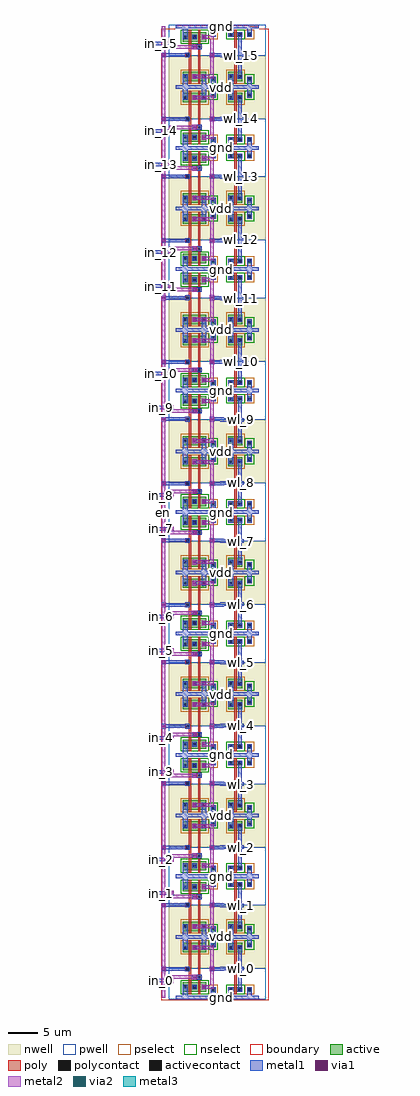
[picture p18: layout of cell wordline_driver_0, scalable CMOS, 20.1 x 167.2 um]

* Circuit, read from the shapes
.subckt wordline_driver_0 en gnd in_0 in_1 in_10 in_11 in_12 in_13 in_14 in_15 in_2 in_3 in_4 in_5 in_6 in_7 in_8 in_9 vdd wl_0 wl_1 wl_10 wl_11 wl_12 wl_13 wl_14 wl_15 wl_2 wl_3 wl_4 wl_5 wl_6 wl_7 wl_8 wl_9
M1 pnand2_0_0/nmos_m1_w1_600_a_p_2/D en gnd gnd nfet w=1.6u l=0.4u
M2 pnand2_0_2/nmos_m1_w1_600_a_p_2/D en gnd gnd nfet w=1.6u l=0.4u
M3 pnand2_0_4/nmos_m1_w1_600_a_p_2/D en gnd gnd nfet w=1.6u l=0.4u
M4 pnand2_0_6/nmos_m1_w1_600_a_p_2/D en gnd gnd nfet w=1.6u l=0.4u
M5 pnand2_0_8/nmos_m1_w1_600_a_p_2/D en gnd gnd nfet w=1.6u l=0.4u
M6 pnand2_0_10/nmos_m1_w1_600_a_p_2/D en gnd gnd nfet w=1.6u l=0.4u
M7 pnand2_0_12/nmos_m1_w1_600_a_p_2/D en gnd gnd nfet w=1.6u l=0.4u
M8 pnand2_0_14/nmos_m1_w1_600_a_p_2/D en gnd gnd nfet w=1.6u l=0.4u
M9 pnand2_0_16/nmos_m1_w1_600_a_p_2/D en gnd gnd nfet w=1.6u l=0.4u
M10 pnand2_0_18/nmos_m1_w1_600_a_p_2/D en gnd gnd nfet w=1.6u l=0.4u
M11 pnand2_0_20/nmos_m1_w1_600_a_p_2/D en gnd gnd nfet w=1.6u l=0.4u
M12 pnand2_0_22/nmos_m1_w1_600_a_p_2/D en gnd gnd nfet w=1.6u l=0.4u
M13 pnand2_0_24/nmos_m1_w1_600_a_p_2/D en gnd gnd nfet w=1.6u l=0.4u
M14 pnand2_0_26/nmos_m1_w1_600_a_p_2/D en gnd gnd nfet w=1.6u l=0.4u
M15 pnand2_0_28/nmos_m1_w1_600_a_p_2/D en gnd gnd nfet w=1.6u l=0.4u
M16 pnand2_0_30/nmos_m1_w1_600_a_p_2/D en gnd gnd nfet w=1.6u l=0.4u
M17 pdriver_0_1/A in_0 pnand2_0_0/nmos_m1_w1_600_a_p_2/D gnd nfet w=1.6u l=0.4u
M18 pdriver_0_3/A in_1 pnand2_0_2/nmos_m1_w1_600_a_p_2/D gnd nfet w=1.6u l=0.4u
M19 pdriver_0_5/A in_2 pnand2_0_4/nmos_m1_w1_600_a_p_2/D gnd nfet w=1.6u l=0.4u
M20 pdriver_0_7/A in_3 pnand2_0_6/nmos_m1_w1_600_a_p_2/D gnd nfet w=1.6u l=0.4u
M21 pdriver_0_9/A in_4 pnand2_0_8/nmos_m1_w1_600_a_p_2/D gnd nfet w=1.6u l=0.4u
M22 pdriver_0_11/A in_5 pnand2_0_10/nmos_m1_w1_600_a_p_2/D gnd nfet w=1.6u l=0.4u
M23 pdriver_0_13/A in_6 pnand2_0_12/nmos_m1_w1_600_a_p_2/D gnd nfet w=1.6u l=0.4u
M24 pdriver_0_15/A in_7 pnand2_0_14/nmos_m1_w1_600_a_p_2/D gnd nfet w=1.6u l=0.4u
M25 pdriver_0_17/A in_8 pnand2_0_16/nmos_m1_w1_600_a_p_2/D gnd nfet w=1.6u l=0.4u
M26 pdriver_0_19/A in_9 pnand2_0_18/nmos_m1_w1_600_a_p_2/D gnd nfet w=1.6u l=0.4u
M27 pdriver_0_21/A in_10 pnand2_0_20/nmos_m1_w1_600_a_p_2/D gnd nfet w=1.6u l=0.4u
M28 pdriver_0_23/A in_11 pnand2_0_22/nmos_m1_w1_600_a_p_2/D gnd nfet w=1.6u l=0.4u
M29 pdriver_0_25/A in_12 pnand2_0_24/nmos_m1_w1_600_a_p_2/D gnd nfet w=1.6u l=0.4u
M30 pdriver_0_27/A in_13 pnand2_0_26/nmos_m1_w1_600_a_p_2/D gnd nfet w=1.6u l=0.4u
M31 pdriver_0_29/A in_14 pnand2_0_28/nmos_m1_w1_600_a_p_2/D gnd nfet w=1.6u l=0.4u
M32 pdriver_0_31/A in_15 pnand2_0_30/nmos_m1_w1_600_a_p_2/D gnd nfet w=1.6u l=0.4u
M33 wl_0 pdriver_0_1/A gnd gnd nfet w=0.8u l=0.4u
M34 wl_1 pdriver_0_3/A gnd gnd nfet w=0.8u l=0.4u
M35 wl_2 pdriver_0_5/A gnd gnd nfet w=0.8u l=0.4u
M36 wl_3 pdriver_0_7/A gnd gnd nfet w=0.8u l=0.4u
M37 wl_4 pdriver_0_9/A gnd gnd nfet w=0.8u l=0.4u
M38 wl_5 pdriver_0_11/A gnd gnd nfet w=0.8u l=0.4u
M39 wl_6 pdriver_0_13/A gnd gnd nfet w=0.8u l=0.4u
M40 wl_7 pdriver_0_15/A gnd gnd nfet w=0.8u l=0.4u
M41 wl_8 pdriver_0_17/A gnd gnd nfet w=0.8u l=0.4u
M42 wl_9 pdriver_0_19/A gnd gnd nfet w=0.8u l=0.4u
M43 wl_10 pdriver_0_21/A gnd gnd nfet w=0.8u l=0.4u
M44 wl_11 pdriver_0_23/A gnd gnd nfet w=0.8u l=0.4u
M45 wl_12 pdriver_0_25/A gnd gnd nfet w=0.8u l=0.4u
M46 wl_13 pdriver_0_27/A gnd gnd nfet w=0.8u l=0.4u
M47 wl_14 pdriver_0_29/A gnd gnd nfet w=0.8u l=0.4u
M48 wl_15 pdriver_0_31/A gnd gnd nfet w=0.8u l=0.4u
M49 pdriver_0_1/A en vdd vdd pfet w=1.6u l=0.4u
M50 pdriver_0_3/A en vdd vdd pfet w=1.6u l=0.4u
M51 pdriver_0_5/A en vdd vdd pfet w=1.6u l=0.4u
M52 pdriver_0_7/A en vdd vdd pfet w=1.6u l=0.4u
M53 pdriver_0_9/A en vdd vdd pfet w=1.6u l=0.4u
M54 pdriver_0_11/A en vdd vdd pfet w=1.6u l=0.4u
M55 pdriver_0_13/A en vdd vdd pfet w=1.6u l=0.4u
M56 pdriver_0_15/A en vdd vdd pfet w=1.6u l=0.4u
M57 pdriver_0_17/A en vdd vdd pfet w=1.6u l=0.4u
M58 pdriver_0_19/A en vdd vdd pfet w=1.6u l=0.4u
M59 pdriver_0_21/A en vdd vdd pfet w=1.6u l=0.4u
M60 pdriver_0_23/A en vdd vdd pfet w=1.6u l=0.4u
M61 pdriver_0_25/A en vdd vdd pfet w=1.6u l=0.4u
M62 pdriver_0_27/A en vdd vdd pfet w=1.6u l=0.4u
M63 pdriver_0_29/A en vdd vdd pfet w=1.6u l=0.4u
M64 pdriver_0_31/A en vdd vdd pfet w=1.6u l=0.4u
M65 vdd in_0 pdriver_0_1/A vdd pfet w=1.6u l=0.4u
M66 vdd in_1 pdriver_0_3/A vdd pfet w=1.6u l=0.4u
M67 vdd in_2 pdriver_0_5/A vdd pfet w=1.6u l=0.4u
M68 vdd in_3 pdriver_0_7/A vdd pfet w=1.6u l=0.4u
M69 vdd in_4 pdriver_0_9/A vdd pfet w=1.6u l=0.4u
M70 vdd in_5 pdriver_0_11/A vdd pfet w=1.6u l=0.4u
M71 vdd in_6 pdriver_0_13/A vdd pfet w=1.6u l=0.4u
M72 vdd in_7 pdriver_0_15/A vdd pfet w=1.6u l=0.4u
M73 vdd in_8 pdriver_0_17/A vdd pfet w=1.6u l=0.4u
M74 vdd in_9 pdriver_0_19/A vdd pfet w=1.6u l=0.4u
M75 vdd in_10 pdriver_0_21/A vdd pfet w=1.6u l=0.4u
M76 vdd in_11 pdriver_0_23/A vdd pfet w=1.6u l=0.4u
M77 vdd in_12 pdriver_0_25/A vdd pfet w=1.6u l=0.4u
M78 vdd in_13 pdriver_0_27/A vdd pfet w=1.6u l=0.4u
M79 vdd in_14 pdriver_0_29/A vdd pfet w=1.6u l=0.4u
M80 vdd in_15 pdriver_0_31/A vdd pfet w=1.6u l=0.4u
M81 wl_0 pdriver_0_1/A vdd vdd pfet w=1.6u l=0.4u
M82 wl_1 pdriver_0_3/A vdd vdd pfet w=1.6u l=0.4u
M83 wl_2 pdriver_0_5/A vdd vdd pfet w=1.6u l=0.4u
M84 wl_3 pdriver_0_7/A vdd vdd pfet w=1.6u l=0.4u
M85 wl_4 pdriver_0_9/A vdd vdd pfet w=1.6u l=0.4u
M86 wl_5 pdriver_0_11/A vdd vdd pfet w=1.6u l=0.4u
M87 wl_6 pdriver_0_13/A vdd vdd pfet w=1.6u l=0.4u
M88 wl_7 pdriver_0_15/A vdd vdd pfet w=1.6u l=0.4u
M89 wl_8 pdriver_0_17/A vdd vdd pfet w=1.6u l=0.4u
M90 wl_9 pdriver_0_19/A vdd vdd pfet w=1.6u l=0.4u
M91 wl_10 pdriver_0_21/A vdd vdd pfet w=1.6u l=0.4u
M92 wl_11 pdriver_0_23/A vdd vdd pfet w=1.6u l=0.4u
M93 wl_12 pdriver_0_25/A vdd vdd pfet w=1.6u l=0.4u
M94 wl_13 pdriver_0_27/A vdd vdd pfet w=1.6u l=0.4u
M95 wl_14 pdriver_0_29/A vdd vdd pfet w=1.6u l=0.4u
M96 wl_15 pdriver_0_31/A vdd vdd pfet w=1.6u l=0.4u
.ends

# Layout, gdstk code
import gdstk
lib = gdstk.Library(unit=1e-6, precision=1e-09)
def R(c, l, rs):  # rectangles x0, y0, x1, y1
    for r in rs: c.add(gdstk.rectangle(r[:2], r[2:], *l))
def A(c, l, x, y, w, h, nx, ny, dx, dy):  # array of equal rectangles
    R(c, l, [(x+i*dx, y+j*dy, x+i*dx+w, y+j*dy+h) for i in range(nx) for j in range(ny)])
pwell = (41, 0)
nwell = (42, 0)
active = (43, 0)
pselect = (44, 0)
nselect = (45, 0)
poly = (46, 0)
polycontact = (47, 0)
activecontact = (48, 0)
metal1 = (49, 0)
via1 = (50, 0)
metal2 = (51, 0)
via2 = (61, 0)
metal3 = (62, 0)
boundary = (63, 0)

contact_11 = lib.new_cell('contact_11')
R(contact_11, nwell, [(-1.2,-1.2,2,2)])
R(contact_11, active, [(0,0,0.8,0.8)])
R(contact_11, pselect, [(-0.4,-0.4,1.2,1.2)])
R(contact_11, activecontact, [(0.2,0.2,0.6,0.6)])
R(contact_11, metal1, [(0,0,0.8,0.8)])

pmos_m1_w1_600_a_p = lib.new_cell('pmos_m1_w1_600_a_p')
R(pmos_m1_w1_600_a_p, nwell, [(-1.2,-1.2,3.6,2.8)])
R(pmos_m1_w1_600_a_p, active, [(0,0,2.4,1.6)])
R(pmos_m1_w1_600_a_p, pselect, [(-0.4,-0.4,2.8,2)])
R(pmos_m1_w1_600_a_p, poly, [(1,-0.4,1.4,2), (1,-0.4,1.4,2)])
R(pmos_m1_w1_600_a_p, metal1, [(0,0.4,0.8,1.2), (1.6,0.4,2.4,1.2)])
R(pmos_m1_w1_600_a_p, boundary, [(-1.2,-1.2,3.6,2.8)])
pmos_m1_w1_600_a_p.add(gdstk.Reference(contact_11, (0,0.4)))
pmos_m1_w1_600_a_p.add(gdstk.Reference(contact_11, (1.6,0.4)))
pmos_m1_w1_600_a_p.add(gdstk.Label('G', (1.2,0.8), layer=46, texttype=0))
pmos_m1_w1_600_a_p.add(gdstk.Label('S', (0.4,0.8), layer=49, texttype=0))
pmos_m1_w1_600_a_p.add(gdstk.Label('D', (2,0.8), layer=49, texttype=0))

contact_16 = lib.new_cell('contact_16')
R(contact_16, pwell, [(-1.2,-1.2,2,2)])
R(contact_16, active, [(0,0,0.8,0.8)])
R(contact_16, nselect, [(-0.4,-0.4,1.2,1.2)])
R(contact_16, activecontact, [(0.2,0.2,0.6,0.6)])
R(contact_16, metal1, [(0,0,0.8,0.8)])

nmos_m1_w1_600_a_p = lib.new_cell('nmos_m1_w1_600_a_p')
R(nmos_m1_w1_600_a_p, pwell, [(-1.2,-1.2,3.6,2.8)])
R(nmos_m1_w1_600_a_p, active, [(0,0,2.4,1.6)])
R(nmos_m1_w1_600_a_p, nselect, [(-0.4,-0.4,2.8,2)])
R(nmos_m1_w1_600_a_p, poly, [(1,-0.4,1.4,2), (1,-0.4,1.4,2)])
R(nmos_m1_w1_600_a_p, metal1, [(0,0.4,0.8,1.2), (1.6,0.4,2.4,1.2)])
R(nmos_m1_w1_600_a_p, boundary, [(-1.2,-1.2,3.6,2.8)])
nmos_m1_w1_600_a_p.add(gdstk.Reference(contact_16, (0,0.4)))
nmos_m1_w1_600_a_p.add(gdstk.Reference(contact_16, (1.6,0.4)))
nmos_m1_w1_600_a_p.add(gdstk.Label('G', (1.2,0.8), layer=46, texttype=0))
nmos_m1_w1_600_a_p.add(gdstk.Label('S', (0.4,0.8), layer=49, texttype=0))
nmos_m1_w1_600_a_p.add(gdstk.Label('D', (2,0.8), layer=49, texttype=0))

contact_13 = lib.new_cell('contact_13')
R(contact_13, nwell, [(-1.2,-1.2,2,2)])
R(contact_13, active, [(0,0,0.8,0.8)])
R(contact_13, nselect, [(-0.4,-0.4,1.2,1.2)])
R(contact_13, activecontact, [(0.2,0.2,0.6,0.6)])
R(contact_13, metal1, [(0,0,0.8,0.8)])

contact_17 = lib.new_cell('contact_17')
R(contact_17, pwell, [(-1.2,-1.2,2,2)])
R(contact_17, active, [(0,0,0.8,0.8)])
R(contact_17, pselect, [(-0.4,-0.4,1.2,1.2)])
R(contact_17, activecontact, [(0.2,0.2,0.6,0.6)])
R(contact_17, metal1, [(0,0,0.8,0.8)])

contact_12 = lib.new_cell('contact_12')
R(contact_12, poly, [(0,0,0.8,0.8)])
R(contact_12, polycontact, [(0.2,0.2,0.6,0.6)])
R(contact_12, metal1, [(0,0,0.8,0.8)])

contact_18 = lib.new_cell('contact_18')
R(contact_18, metal1, [(0,0,0.8,0.8)])
R(contact_18, via1, [(0.2,0.2,0.6,0.6)])
R(contact_18, metal2, [(0,0,0.8,0.8)])

contact_19 = lib.new_cell('contact_19')
R(contact_19, metal1, [(0,0,0.8,0.8)])
R(contact_19, via1, [(0.2,0.2,0.6,0.6)])
R(contact_19, metal2, [(0,0,0.8,0.8)])

pnand2_0 = lib.new_cell('pnand2_0')
R(pnand2_0, pwell, [(-1.2,-0.3,9,5)])
R(pnand2_0, nwell, [(-1.2,5,9,11.8)])
R(pnand2_0, poly, [(2.2,3,2.6,7.4), (3.8,3,4.2,7.4), (3.8,3.1,4,3.9), (2,4.5,2.2,5.3)])
R(pnand2_0, metal1, [(0,-0.3,7.8,0.3), (1.2,-0.3,2,1.4), (6,0,6.8,1.4), (3.6,3.1,4.4,3.9), (1.6,4.5,2.4,5.3), (5.8,4.5,6.6,5.3), (1.2,8.2,2,10.7), (4.4,8.2,5.2,10.7), (6,9,6.8,10.4), (0,10.1,7.8,10.7)])
R(pnand2_0, metal2, [(4.8,1.5,6.2,2.1), (5.9,1.5,6.5,2.1), (5.9,1.8,6.5,4.9), (5.9,4.9,6.5,8.6), (3.2,8.3,6.2,8.9), (5.9,8.3,6.5,8.9)])
R(pnand2_0, boundary, [(0,0,7.8,10.4)])
pnand2_0.add(gdstk.Reference(pmos_m1_w1_600_a_p, (1.2,7.8)))
pnand2_0.add(gdstk.Reference(pmos_m1_w1_600_a_p, (2.8,7.8)))
pnand2_0.add(gdstk.Reference(nmos_m1_w1_600_a_p, (1.2,1)))
pnand2_0.add(gdstk.Reference(nmos_m1_w1_600_a_p, (2.8,1)))
pnand2_0.add(gdstk.Reference(contact_13, (6,8.6)))
pnand2_0.add(gdstk.Reference(contact_17, (6,1)))
pnand2_0.add(gdstk.Reference(contact_12, (3.6,3.1)))
pnand2_0.add(gdstk.Reference(contact_12, (1.6,4.5)))
pnand2_0.add(gdstk.Reference(contact_18, (2.8,8.2)))
pnand2_0.add(gdstk.Reference(contact_18, (4.4,1.4)))
pnand2_0.add(gdstk.Reference(contact_19, (5.8,4.5)))
pnand2_0.add(gdstk.Label('gnd', (3.9,0), layer=49, texttype=0))
pnand2_0.add(gdstk.Label('vdd', (3.9,10.4), layer=49, texttype=0))
pnand2_0.add(gdstk.Label('B', (4,3.5), layer=49, texttype=0))
pnand2_0.add(gdstk.Label('A', (2,4.9), layer=49, texttype=0))
pnand2_0.add(gdstk.Label('Z', (6.2,4.9), layer=49, texttype=0))

nmos_m1_w0_800_a_p = lib.new_cell('nmos_m1_w0_800_a_p')
R(nmos_m1_w0_800_a_p, pwell, [(-1.2,-1.2,3.6,2)])
R(nmos_m1_w0_800_a_p, active, [(0,0,2.4,0.8)])
R(nmos_m1_w0_800_a_p, nselect, [(-0.4,-0.4,2.8,1.2)])
R(nmos_m1_w0_800_a_p, poly, [(1,-0.4,1.4,1.2), (1,-0.4,1.4,1.2)])
R(nmos_m1_w0_800_a_p, metal1, [(0,0,0.8,0.8), (1.6,0,2.4,0.8)])
R(nmos_m1_w0_800_a_p, boundary, [(-1.2,-1.2,3.6,2)])
nmos_m1_w0_800_a_p.add(gdstk.Reference(contact_16, (0,0)))
nmos_m1_w0_800_a_p.add(gdstk.Reference(contact_16, (1.6,0)))
nmos_m1_w0_800_a_p.add(gdstk.Label('G', (1.2,0.4), layer=46, texttype=0))
nmos_m1_w0_800_a_p.add(gdstk.Label('S', (0.4,0.4), layer=49, texttype=0))
nmos_m1_w0_800_a_p.add(gdstk.Label('D', (2,0.4), layer=49, texttype=0))

pinv_1 = lib.new_cell('pinv_1')
R(pinv_1, pwell, [(-1.2,-0.3,7.6,5)])
R(pinv_1, nwell, [(-1.2,5,7.6,11.8)])
R(pinv_1, poly, [(2.2,2.2,2.6,7.4), (1.8,4.6,2.2,5.4)])
R(pinv_1, metal1, [(0,-0.3,6.4,0.3), (1.2,-0.3,2,1), (4.4,0,5.2,1.4), (2.9,1,3.5,9), (1.4,4.6,2.2,5.4), (3.2,4.7,3.8,5.3), (1.2,8.2,2,10.7), (4.4,9,5.2,10.4), (0,10.1,6.4,10.7)])
R(pinv_1, boundary, [(0,0,6.4,10.4)])
pinv_1.add(gdstk.Reference(pmos_m1_w1_600_a_p, (1.2,7.8)))
pinv_1.add(gdstk.Reference(nmos_m1_w0_800_a_p, (1.2,1)))
pinv_1.add(gdstk.Reference(contact_13, (4.4,8.6)))
pinv_1.add(gdstk.Reference(contact_17, (4.4,1)))
pinv_1.add(gdstk.Reference(contact_12, (1.4,4.6)))
pinv_1.add(gdstk.Label('gnd', (3.2,0), layer=49, texttype=0))
pinv_1.add(gdstk.Label('vdd', (3.2,10.4), layer=49, texttype=0))
pinv_1.add(gdstk.Label('A', (1.8,5), layer=49, texttype=0))
pinv_1.add(gdstk.Label('Z', (3.5,5), layer=49, texttype=0))

pdriver_0 = lib.new_cell('pdriver_0')
R(pdriver_0, metal1, [(0,-0.3,0.6,0.3), (1.4,4.6,2.2,5.4), (3.2,4.7,3.8,5.3), (0,10.1,0.6,10.7)])
R(pdriver_0, boundary, [(0,0,6.4,10.4)])
pdriver_0.add(gdstk.Reference(pinv_1, (0,0)))
pdriver_0.add(gdstk.Label('vdd', (0.3,10.4), layer=49, texttype=0))
pdriver_0.add(gdstk.Label('gnd', (0.3,0), layer=49, texttype=0))
pdriver_0.add(gdstk.Label('Z', (3.5,5), layer=49, texttype=0))
pdriver_0.add(gdstk.Label('A', (1.8,5), layer=49, texttype=0))

contact_14 = lib.new_cell('contact_14')
R(contact_14, metal1, [(0,0,0.8,0.8)])
R(contact_14, via1, [(0.2,0.2,0.6,0.6)])
R(contact_14, metal2, [(0,0,0.8,0.8)])

contact_7 = lib.new_cell('contact_7')
R(contact_7, metal1, [(0,0,0.8,0.8)])
R(contact_7, via1, [(0.2,0.2,0.6,0.6)])
R(contact_7, metal2, [(0,0,0.8,0.8)])

contact_8 = lib.new_cell('contact_8')
R(contact_8, metal2, [(0,0,0.8,0.8)])
R(contact_8, via2, [(0.2,0.2,0.6,0.6)])
R(contact_8, metal3, [(0,0,0.8,0.8)])

wordline_driver_0 = lib.new_cell('wordline_driver_0')
R(wordline_driver_0, metal1, [(-1.7,3,1.7,3.6), (0.4,5,4.1,5.6), (9.1,5,10.4,5.6), (10.1,5,10.7,5.6), (10.1,5.1,10.7,5.7), (10.4,5.1,11.7,5.7), (13.5,5.1,14.1,5.7), (10.1,5.3,10.7,5.4), (10.1,15.9,10.7,16.5), (10.4,15.9,11.7,16.5), (13.5,15.9,14.1,16.5), (0.4,16,4.1,16.6), (9.1,16,10.4,16.6), (10.1,16,10.7,16.6), (10.1,16.2,10.7,16.3), (-1.7,18,1.7,18.6), (-1.7,23.8,1.7,24.4), (0.4,25.8,4.1,26.4), (9.1,25.8,10.4,26.4), (10.1,25.8,10.7,26.4), (10.1,25.9,10.7,26.5), (10.4,25.9,11.7,26.5), (13.5,25.9,14.1,26.5), (10.1,26.1,10.7,26.2), (10.1,36.7,10.7,37.3), (10.4,36.7,11.7,37.3), (13.5,36.7,14.1,37.3), (0.4,36.8,4.1,37.4), (9.1,36.8,10.4,37.4), (10.1,36.8,10.7,37.4), (10.1,37,10.7,37.1), (-1.7,38.8,1.7,39.4), (-1.7,44.6,1.7,45.2), (0.4,46.6,4.1,47.2), (9.1,46.6,10.4,47.2), (10.1,46.6,10.7,47.2), (10.1,46.7,10.7,47.3), (10.4,46.7,11.7,47.3), (13.5,46.7,14.1,47.3), (10.1,46.9,10.7,47), (10.1,57.5,10.7,58.1), (10.4,57.5,11.7,58.1), (13.5,57.5,14.1,58.1), (0.4,57.6,4.1,58.2), (9.1,57.6,10.4,58.2), (10.1,57.6,10.7,58.2), (10.1,57.8,10.7,57.9), (-1.7,59.6,1.7,60.2), (-1.7,65.4,1.7,66), (0.4,67.4,4.1,68), (9.1,67.4,10.4,68), (10.1,67.4,10.7,68), (10.1,67.5,10.7,68.1), (10.4,67.5,11.7,68.1), (13.5,67.5,14.1,68.1), (10.1,67.7,10.7,67.8), (10.1,78.3,10.7,78.9), (10.4,78.3,11.7,78.9), (13.5,78.3,14.1,78.9), (0.4,78.4,4.1,79), (9.1,78.4,10.4,79), (10.1,78.4,10.7,79), (10.1,78.6,10.7,78.7), (-1.7,80.4,1.7,81), (-1.7,86.2,1.7,86.8), (0.4,88.2,4.1,88.8), (9.1,88.2,10.4,88.8), (10.1,88.2,10.7,88.8), (10.1,88.3,10.7,88.9), (10.4,88.3,11.7,88.9), (13.5,88.3,14.1,88.9), (10.1,88.5,10.7,88.6), (10.1,99.1,10.7,99.7), (10.4,99.1,11.7,99.7), (13.5,99.1,14.1,99.7), (0.4,99.2,4.1,99.8), (9.1,99.2,10.4,99.8), (10.1,99.2,10.7,99.8), (10.1,99.4,10.7,99.5), (-1.7,101.2,1.7,101.8), (-1.7,107,1.7,107.6), (0.4,109,4.1,109.6), (9.1,109,10.4,109.6), (10.1,109,10.7,109.6), (10.1,109.1,10.7,109.7), (10.4,109.1,11.7,109.7), (13.5,109.1,14.1,109.7), (10.1,109.3,10.7,109.4), (10.1,119.9,10.7,120.5), (10.4,119.9,11.7,120.5), (13.5,119.9,14.1,120.5), (0.4,120,4.1,120.6), (9.1,120,10.4,120.6), (10.1,120,10.7,120.6), (10.1,120.2,10.7,120.3), (-1.7,122,1.7,122.6), (-1.7,127.8,1.7,128.4), (0.4,129.8,4.1,130.4), (9.1,129.8,10.4,130.4), (10.1,129.8,10.7,130.4), (10.1,129.9,10.7,130.5), (10.4,129.9,11.7,130.5), (13.5,129.9,14.1,130.5), (10.1,130.1,10.7,130.2), (10.1,140.7,10.7,141.3), (10.4,140.7,11.7,141.3), (13.5,140.7,14.1,141.3), (0.4,140.8,4.1,141.4), (9.1,140.8,10.4,141.4), (10.1,140.8,10.7,141.4), (10.1,141,10.7,141.1), (-1.7,142.8,1.7,143.4), (-1.7,148.6,1.7,149.2), (0.4,150.6,4.1,151.2), (9.1,150.6,10.4,151.2), (10.1,150.6,10.7,151.2), (10.1,150.7,10.7,151.3), (10.4,150.7,11.7,151.3), (13.5,150.7,14.1,151.3), (10.1,150.9,10.7,151), (10.1,161.5,10.7,162.1), (10.4,161.5,11.7,162.1), (13.5,161.5,14.1,162.1), (0.4,161.6,4.1,162.2), (9.1,161.6,10.4,162.2), (10.1,161.6,10.7,162.2), (10.1,161.8,10.7,161.9), (-1.7,163.6,1.7,164.2)])
R(wordline_driver_0, metal2, [(0.1,0.4,0.7,166.8), (1.4,3.3,2,3.9), (1.4,3.6,2,4.2), (1.7,3.6,6.1,4.2), (1.4,17.4,2,18), (1.7,17.4,6.1,18), (1.4,17.7,2,18.3), (1.4,24.1,2,24.7), (1.4,24.4,2,25), (1.7,24.4,6.1,25), (1.4,38.2,2,38.8), (1.7,38.2,6.1,38.8), (1.4,38.5,2,39.1), (1.4,44.9,2,45.5), (1.4,45.2,2,45.8), (1.7,45.2,6.1,45.8), (1.4,59,2,59.6), (1.7,59,6.1,59.6), (1.4,59.3,2,59.9), (1.4,65.7,2,66.3), (1.4,66,2,66.6), (1.7,66,6.1,66.6), (1.4,79.8,2,80.4), (1.7,79.8,6.1,80.4), (1.4,80.1,2,80.7), (1.4,86.5,2,87.1), (1.4,86.8,2,87.4), (1.7,86.8,6.1,87.4), (1.4,100.6,2,101.2), (1.7,100.6,6.1,101.2), (1.4,100.9,2,101.5), (1.4,107.3,2,107.9), (1.4,107.6,2,108.2), (1.7,107.6,6.1,108.2), (1.4,121.4,2,122), (1.7,121.4,6.1,122), (1.4,121.7,2,122.3), (1.4,128.1,2,128.7), (1.4,128.4,2,129), (1.7,128.4,6.1,129), (1.4,142.2,2,142.8), (1.7,142.2,6.1,142.8), (1.4,142.5,2,143.1), (1.4,148.9,2,149.5), (1.4,149.2,2,149.8), (1.7,149.2,6.1,149.8), (1.4,163,2,163.6), (1.7,163,6.1,163.6), (1.4,163.3,2,163.9)])
A(wordline_driver_0, metal3, 9.9, 10.4, 0.8, 0.8, 1, 3, 0, 10.4)
A(wordline_driver_0, metal3, 9.9, 31.2, 0.8, 0.8, 1, 5, 0, 10.4)
A(wordline_driver_0, metal3, 9.9, 72.8, 0.8, 0.8, 1, 3, 0, 10.4)
A(wordline_driver_0, metal3, 9.9, 93.6, 0.8, 0.8, 1, 8, 0, 10.4)
R(wordline_driver_0, metal3, [(9.9,0,10.7,0.8), (9.9,10.4,10.7,11.2)])
R(wordline_driver_0, boundary, [(0,0,18.4,166.4)])
wordline_driver_0.add(gdstk.Reference(pnand2_0, (2.5,0.4)))
wordline_driver_0.add(gdstk.Reference(pdriver_0, (10.3,0.4)))
wordline_driver_0.add(gdstk.Reference(pnand2_0, (2.5,21.2), x_reflection=True))
wordline_driver_0.add(gdstk.Reference(pdriver_0, (10.3,21.2), x_reflection=True))
wordline_driver_0.add(gdstk.Reference(pnand2_0, (2.5,21.2)))
wordline_driver_0.add(gdstk.Reference(pdriver_0, (10.3,21.2)))
wordline_driver_0.add(gdstk.Reference(pnand2_0, (2.5,42), x_reflection=True))
wordline_driver_0.add(gdstk.Reference(pdriver_0, (10.3,42), x_reflection=True))
wordline_driver_0.add(gdstk.Reference(pnand2_0, (2.5,42)))
wordline_driver_0.add(gdstk.Reference(pdriver_0, (10.3,42)))
wordline_driver_0.add(gdstk.Reference(pnand2_0, (2.5,62.8), x_reflection=True))
wordline_driver_0.add(gdstk.Reference(pdriver_0, (10.3,62.8), x_reflection=True))
wordline_driver_0.add(gdstk.Reference(pnand2_0, (2.5,62.8)))
wordline_driver_0.add(gdstk.Reference(pdriver_0, (10.3,62.8)))
wordline_driver_0.add(gdstk.Reference(pnand2_0, (2.5,83.6), x_reflection=True))
wordline_driver_0.add(gdstk.Reference(pdriver_0, (10.3,83.6), x_reflection=True))
wordline_driver_0.add(gdstk.Reference(pnand2_0, (2.5,83.6)))
wordline_driver_0.add(gdstk.Reference(pdriver_0, (10.3,83.6)))
wordline_driver_0.add(gdstk.Reference(pnand2_0, (2.5,104.4), x_reflection=True))
wordline_driver_0.add(gdstk.Reference(pdriver_0, (10.3,104.4), x_reflection=True))
wordline_driver_0.add(gdstk.Reference(pnand2_0, (2.5,104.4)))
wordline_driver_0.add(gdstk.Reference(pdriver_0, (10.3,104.4)))
wordline_driver_0.add(gdstk.Reference(pnand2_0, (2.5,125.2), x_reflection=True))
wordline_driver_0.add(gdstk.Reference(pdriver_0, (10.3,125.2), x_reflection=True))
wordline_driver_0.add(gdstk.Reference(pnand2_0, (2.5,125.2)))
wordline_driver_0.add(gdstk.Reference(pdriver_0, (10.3,125.2)))
wordline_driver_0.add(gdstk.Reference(pnand2_0, (2.5,146), x_reflection=True))
wordline_driver_0.add(gdstk.Reference(pdriver_0, (10.3,146), x_reflection=True))
wordline_driver_0.add(gdstk.Reference(pnand2_0, (2.5,146)))
wordline_driver_0.add(gdstk.Reference(pdriver_0, (10.3,146)))
wordline_driver_0.add(gdstk.Reference(pnand2_0, (2.5,166.8), x_reflection=True))
wordline_driver_0.add(gdstk.Reference(pdriver_0, (10.3,166.8), x_reflection=True))
wordline_driver_0.add(gdstk.Reference(contact_19, (0,4.9)))
wordline_driver_0.add(gdstk.Reference(contact_14, (1.3,2.9)))
wordline_driver_0.add(gdstk.Reference(contact_7, (5.3,3.5)))
wordline_driver_0.add(gdstk.Reference(contact_19, (0,15.9)))
wordline_driver_0.add(gdstk.Reference(contact_14, (1.3,17.9)))
wordline_driver_0.add(gdstk.Reference(contact_7, (5.3,17.3)))
wordline_driver_0.add(gdstk.Reference(contact_19, (0,25.7)))
wordline_driver_0.add(gdstk.Reference(contact_14, (1.3,23.7)))
wordline_driver_0.add(gdstk.Reference(contact_7, (5.3,24.3)))
wordline_driver_0.add(gdstk.Reference(contact_19, (0,36.7)))
wordline_driver_0.add(gdstk.Reference(contact_14, (1.3,38.7)))
wordline_driver_0.add(gdstk.Reference(contact_7, (5.3,38.1)))
wordline_driver_0.add(gdstk.Reference(contact_19, (0,46.5)))
wordline_driver_0.add(gdstk.Reference(contact_14, (1.3,44.5)))
wordline_driver_0.add(gdstk.Reference(contact_7, (5.3,45.1)))
wordline_driver_0.add(gdstk.Reference(contact_19, (0,57.5)))
wordline_driver_0.add(gdstk.Reference(contact_14, (1.3,59.5)))
wordline_driver_0.add(gdstk.Reference(contact_7, (5.3,58.9)))
wordline_driver_0.add(gdstk.Reference(contact_19, (0,67.3)))
wordline_driver_0.add(gdstk.Reference(contact_14, (1.3,65.3)))
wordline_driver_0.add(gdstk.Reference(contact_7, (5.3,65.9)))
wordline_driver_0.add(gdstk.Reference(contact_19, (0,78.3)))
wordline_driver_0.add(gdstk.Reference(contact_14, (1.3,80.3)))
wordline_driver_0.add(gdstk.Reference(contact_7, (5.3,79.7)))
wordline_driver_0.add(gdstk.Reference(contact_19, (0,88.1)))
wordline_driver_0.add(gdstk.Reference(contact_14, (1.3,86.1)))
wordline_driver_0.add(gdstk.Reference(contact_7, (5.3,86.7)))
wordline_driver_0.add(gdstk.Reference(contact_19, (0,99.1)))
wordline_driver_0.add(gdstk.Reference(contact_14, (1.3,101.1)))
wordline_driver_0.add(gdstk.Reference(contact_7, (5.3,100.5)))
wordline_driver_0.add(gdstk.Reference(contact_19, (0,108.9)))
wordline_driver_0.add(gdstk.Reference(contact_14, (1.3,106.9)))
wordline_driver_0.add(gdstk.Reference(contact_7, (5.3,107.5)))
wordline_driver_0.add(gdstk.Reference(contact_19, (0,119.9)))
wordline_driver_0.add(gdstk.Reference(contact_14, (1.3,121.9)))
wordline_driver_0.add(gdstk.Reference(contact_7, (5.3,121.3)))
wordline_driver_0.add(gdstk.Reference(contact_19, (0,129.7)))
wordline_driver_0.add(gdstk.Reference(contact_14, (1.3,127.7)))
wordline_driver_0.add(gdstk.Reference(contact_7, (5.3,128.3)))
wordline_driver_0.add(gdstk.Reference(contact_19, (0,140.7)))
wordline_driver_0.add(gdstk.Reference(contact_14, (1.3,142.7)))
wordline_driver_0.add(gdstk.Reference(contact_7, (5.3,142.1)))
wordline_driver_0.add(gdstk.Reference(contact_19, (0,150.5)))
wordline_driver_0.add(gdstk.Reference(contact_14, (1.3,148.5)))
wordline_driver_0.add(gdstk.Reference(contact_7, (5.3,149.1)))
wordline_driver_0.add(gdstk.Reference(contact_19, (0,161.5)))
wordline_driver_0.add(gdstk.Reference(contact_14, (1.3,163.5)))
wordline_driver_0.add(gdstk.Reference(contact_7, (5.3,162.9)))
wordline_driver_0.add(gdstk.Reference(contact_7, (9.9,10.4)))
wordline_driver_0.add(gdstk.Reference(contact_8, (9.9,10.4)))
wordline_driver_0.add(gdstk.Reference(contact_7, (9.9,10.4)))
wordline_driver_0.add(gdstk.Reference(contact_8, (9.9,10.4)))
wordline_driver_0.add(gdstk.Reference(contact_7, (9.9,0)))
wordline_driver_0.add(gdstk.Reference(contact_8, (9.9,0)))
wordline_driver_0.add(gdstk.Reference(contact_7, (9.9,0)))
wordline_driver_0.add(gdstk.Reference(contact_8, (9.9,0)))
wordline_driver_0.add(gdstk.Reference(contact_7, (9.9,10.4)))
wordline_driver_0.add(gdstk.Reference(contact_8, (9.9,10.4)))
wordline_driver_0.add(gdstk.Reference(contact_7, (9.9,10.4)))
wordline_driver_0.add(gdstk.Reference(contact_8, (9.9,10.4)))
wordline_driver_0.add(gdstk.Reference(contact_7, (9.9,20.8)))
wordline_driver_0.add(gdstk.Reference(contact_8, (9.9,20.8)))
wordline_driver_0.add(gdstk.Reference(contact_7, (9.9,20.8)))
wordline_driver_0.add(gdstk.Reference(contact_8, (9.9,20.8)))
wordline_driver_0.add(gdstk.Reference(contact_7, (9.9,31.2)))
wordline_driver_0.add(gdstk.Reference(contact_8, (9.9,31.2)))
wordline_driver_0.add(gdstk.Reference(contact_7, (9.9,31.2)))
wordline_driver_0.add(gdstk.Reference(contact_8, (9.9,31.2)))
wordline_driver_0.add(gdstk.Reference(contact_7, (9.9,20.8)))
wordline_driver_0.add(gdstk.Reference(contact_8, (9.9,20.8)))
wordline_driver_0.add(gdstk.Reference(contact_7, (9.9,20.8)))
wordline_driver_0.add(gdstk.Reference(contact_8, (9.9,20.8)))
wordline_driver_0.add(gdstk.Reference(contact_7, (9.9,31.2)))
wordline_driver_0.add(gdstk.Reference(contact_8, (9.9,31.2)))
wordline_driver_0.add(gdstk.Reference(contact_7, (9.9,31.2)))
wordline_driver_0.add(gdstk.Reference(contact_8, (9.9,31.2)))
wordline_driver_0.add(gdstk.Reference(contact_7, (9.9,41.6)))
wordline_driver_0.add(gdstk.Reference(contact_8, (9.9,41.6)))
wordline_driver_0.add(gdstk.Reference(contact_7, (9.9,41.6)))
wordline_driver_0.add(gdstk.Reference(contact_8, (9.9,41.6)))
wordline_driver_0.add(gdstk.Reference(contact_7, (9.9,52)))
wordline_driver_0.add(gdstk.Reference(contact_8, (9.9,52)))
wordline_driver_0.add(gdstk.Reference(contact_7, (9.9,52)))
wordline_driver_0.add(gdstk.Reference(contact_8, (9.9,52)))
wordline_driver_0.add(gdstk.Reference(contact_7, (9.9,41.6)))
wordline_driver_0.add(gdstk.Reference(contact_8, (9.9,41.6)))
wordline_driver_0.add(gdstk.Reference(contact_7, (9.9,41.6)))
wordline_driver_0.add(gdstk.Reference(contact_8, (9.9,41.6)))
wordline_driver_0.add(gdstk.Reference(contact_7, (9.9,52)))
wordline_driver_0.add(gdstk.Reference(contact_8, (9.9,52)))
wordline_driver_0.add(gdstk.Reference(contact_7, (9.9,52)))
wordline_driver_0.add(gdstk.Reference(contact_8, (9.9,52)))
wordline_driver_0.add(gdstk.Reference(contact_7, (9.9,62.4)))
wordline_driver_0.add(gdstk.Reference(contact_8, (9.9,62.4)))
wordline_driver_0.add(gdstk.Reference(contact_7, (9.9,62.4)))
wordline_driver_0.add(gdstk.Reference(contact_8, (9.9,62.4)))
wordline_driver_0.add(gdstk.Reference(contact_7, (9.9,72.8)))
wordline_driver_0.add(gdstk.Reference(contact_8, (9.9,72.8)))
wordline_driver_0.add(gdstk.Reference(contact_7, (9.9,72.8)))
wordline_driver_0.add(gdstk.Reference(contact_8, (9.9,72.8)))
wordline_driver_0.add(gdstk.Reference(contact_7, (9.9,62.4)))
wordline_driver_0.add(gdstk.Reference(contact_8, (9.9,62.4)))
wordline_driver_0.add(gdstk.Reference(contact_7, (9.9,62.4)))
wordline_driver_0.add(gdstk.Reference(contact_8, (9.9,62.4)))
wordline_driver_0.add(gdstk.Reference(contact_7, (9.9,72.8)))
wordline_driver_0.add(gdstk.Reference(contact_8, (9.9,72.8)))
wordline_driver_0.add(gdstk.Reference(contact_7, (9.9,72.8)))
wordline_driver_0.add(gdstk.Reference(contact_8, (9.9,72.8)))
wordline_driver_0.add(gdstk.Reference(contact_7, (9.9,83.2)))
wordline_driver_0.add(gdstk.Reference(contact_8, (9.9,83.2)))
wordline_driver_0.add(gdstk.Reference(contact_7, (9.9,83.2)))
wordline_driver_0.add(gdstk.Reference(contact_8, (9.9,83.2)))
wordline_driver_0.add(gdstk.Reference(contact_7, (9.9,93.6)))
wordline_driver_0.add(gdstk.Reference(contact_8, (9.9,93.6)))
wordline_driver_0.add(gdstk.Reference(contact_7, (9.9,93.6)))
wordline_driver_0.add(gdstk.Reference(contact_8, (9.9,93.6)))
wordline_driver_0.add(gdstk.Reference(contact_7, (9.9,83.2)))
wordline_driver_0.add(gdstk.Reference(contact_8, (9.9,83.2)))
wordline_driver_0.add(gdstk.Reference(contact_7, (9.9,83.2)))
wordline_driver_0.add(gdstk.Reference(contact_8, (9.9,83.2)))
wordline_driver_0.add(gdstk.Reference(contact_7, (9.9,93.6)))
wordline_driver_0.add(gdstk.Reference(contact_8, (9.9,93.6)))
wordline_driver_0.add(gdstk.Reference(contact_7, (9.9,93.6)))
wordline_driver_0.add(gdstk.Reference(contact_8, (9.9,93.6)))
wordline_driver_0.add(gdstk.Reference(contact_7, (9.9,104)))
wordline_driver_0.add(gdstk.Reference(contact_8, (9.9,104)))
wordline_driver_0.add(gdstk.Reference(contact_7, (9.9,104)))
wordline_driver_0.add(gdstk.Reference(contact_8, (9.9,104)))
wordline_driver_0.add(gdstk.Reference(contact_7, (9.9,114.4)))
wordline_driver_0.add(gdstk.Reference(contact_8, (9.9,114.4)))
wordline_driver_0.add(gdstk.Reference(contact_7, (9.9,114.4)))
wordline_driver_0.add(gdstk.Reference(contact_8, (9.9,114.4)))
wordline_driver_0.add(gdstk.Reference(contact_7, (9.9,104)))
wordline_driver_0.add(gdstk.Reference(contact_8, (9.9,104)))
wordline_driver_0.add(gdstk.Reference(contact_7, (9.9,104)))
wordline_driver_0.add(gdstk.Reference(contact_8, (9.9,104)))
wordline_driver_0.add(gdstk.Reference(contact_7, (9.9,114.4)))
wordline_driver_0.add(gdstk.Reference(contact_8, (9.9,114.4)))
wordline_driver_0.add(gdstk.Reference(contact_7, (9.9,114.4)))
wordline_driver_0.add(gdstk.Reference(contact_8, (9.9,114.4)))
wordline_driver_0.add(gdstk.Reference(contact_7, (9.9,124.8)))
wordline_driver_0.add(gdstk.Reference(contact_8, (9.9,124.8)))
wordline_driver_0.add(gdstk.Reference(contact_7, (9.9,124.8)))
wordline_driver_0.add(gdstk.Reference(contact_8, (9.9,124.8)))
wordline_driver_0.add(gdstk.Reference(contact_7, (9.9,135.2)))
wordline_driver_0.add(gdstk.Reference(contact_8, (9.9,135.2)))
wordline_driver_0.add(gdstk.Reference(contact_7, (9.9,135.2)))
wordline_driver_0.add(gdstk.Reference(contact_8, (9.9,135.2)))
wordline_driver_0.add(gdstk.Reference(contact_7, (9.9,124.8)))
wordline_driver_0.add(gdstk.Reference(contact_8, (9.9,124.8)))
wordline_driver_0.add(gdstk.Reference(contact_7, (9.9,124.8)))
wordline_driver_0.add(gdstk.Reference(contact_8, (9.9,124.8)))
wordline_driver_0.add(gdstk.Reference(contact_7, (9.9,135.2)))
wordline_driver_0.add(gdstk.Reference(contact_8, (9.9,135.2)))
wordline_driver_0.add(gdstk.Reference(contact_7, (9.9,135.2)))
wordline_driver_0.add(gdstk.Reference(contact_8, (9.9,135.2)))
wordline_driver_0.add(gdstk.Reference(contact_7, (9.9,145.6)))
wordline_driver_0.add(gdstk.Reference(contact_8, (9.9,145.6)))
wordline_driver_0.add(gdstk.Reference(contact_7, (9.9,145.6)))
wordline_driver_0.add(gdstk.Reference(contact_8, (9.9,145.6)))
wordline_driver_0.add(gdstk.Reference(contact_7, (9.9,156)))
wordline_driver_0.add(gdstk.Reference(contact_8, (9.9,156)))
wordline_driver_0.add(gdstk.Reference(contact_7, (9.9,156)))
wordline_driver_0.add(gdstk.Reference(contact_8, (9.9,156)))
wordline_driver_0.add(gdstk.Reference(contact_7, (9.9,145.6)))
wordline_driver_0.add(gdstk.Reference(contact_8, (9.9,145.6)))
wordline_driver_0.add(gdstk.Reference(contact_7, (9.9,145.6)))
wordline_driver_0.add(gdstk.Reference(contact_8, (9.9,145.6)))
wordline_driver_0.add(gdstk.Reference(contact_7, (9.9,156)))
wordline_driver_0.add(gdstk.Reference(contact_8, (9.9,156)))
wordline_driver_0.add(gdstk.Reference(contact_7, (9.9,156)))
wordline_driver_0.add(gdstk.Reference(contact_8, (9.9,156)))
wordline_driver_0.add(gdstk.Reference(contact_7, (9.9,166.4)))
wordline_driver_0.add(gdstk.Reference(contact_8, (9.9,166.4)))
wordline_driver_0.add(gdstk.Reference(contact_7, (9.9,166.4)))
wordline_driver_0.add(gdstk.Reference(contact_8, (9.9,166.4)))
wordline_driver_0.add(gdstk.Label('en', (0.4,83.6), layer=51, texttype=0))
wordline_driver_0.add(gdstk.Label('in_0', (0,3.3), layer=49, texttype=0))
wordline_driver_0.add(gdstk.Label('wl_0', (13.8,5.4), layer=49, texttype=0))
wordline_driver_0.add(gdstk.Label('in_1', (0,18.3), layer=49, texttype=0))
wordline_driver_0.add(gdstk.Label('wl_1', (13.8,16.2), layer=49, texttype=0))
wordline_driver_0.add(gdstk.Label('in_2', (0,24.1), layer=49, texttype=0))
wordline_driver_0.add(gdstk.Label('wl_2', (13.8,26.2), layer=49, texttype=0))
wordline_driver_0.add(gdstk.Label('in_3', (0,39.1), layer=49, texttype=0))
wordline_driver_0.add(gdstk.Label('wl_3', (13.8,37), layer=49, texttype=0))
wordline_driver_0.add(gdstk.Label('in_4', (0,44.9), layer=49, texttype=0))
wordline_driver_0.add(gdstk.Label('wl_4', (13.8,47), layer=49, texttype=0))
wordline_driver_0.add(gdstk.Label('in_5', (0,59.9), layer=49, texttype=0))
wordline_driver_0.add(gdstk.Label('wl_5', (13.8,57.8), layer=49, texttype=0))
wordline_driver_0.add(gdstk.Label('in_6', (0,65.7), layer=49, texttype=0))
wordline_driver_0.add(gdstk.Label('wl_6', (13.8,67.8), layer=49, texttype=0))
wordline_driver_0.add(gdstk.Label('in_7', (0,80.7), layer=49, texttype=0))
wordline_driver_0.add(gdstk.Label('wl_7', (13.8,78.6), layer=49, texttype=0))
wordline_driver_0.add(gdstk.Label('in_8', (0,86.5), layer=49, texttype=0))
wordline_driver_0.add(gdstk.Label('wl_8', (13.8,88.6), layer=49, texttype=0))
wordline_driver_0.add(gdstk.Label('in_9', (0,101.5), layer=49, texttype=0))
wordline_driver_0.add(gdstk.Label('wl_9', (13.8,99.4), layer=49, texttype=0))
wordline_driver_0.add(gdstk.Label('in_10', (0,107.3), layer=49, texttype=0))
wordline_driver_0.add(gdstk.Label('wl_10', (13.8,109.4), layer=49, texttype=0))
wordline_driver_0.add(gdstk.Label('in_11', (0,122.3), layer=49, texttype=0))
wordline_driver_0.add(gdstk.Label('wl_11', (13.8,120.2), layer=49, texttype=0))
wordline_driver_0.add(gdstk.Label('in_12', (0,128.1), layer=49, texttype=0))
wordline_driver_0.add(gdstk.Label('wl_12', (13.8,130.2), layer=49, texttype=0))
wordline_driver_0.add(gdstk.Label('in_13', (0,143.1), layer=49, texttype=0))
wordline_driver_0.add(gdstk.Label('wl_13', (13.8,141), layer=49, texttype=0))
wordline_driver_0.add(gdstk.Label('in_14', (0,148.9), layer=49, texttype=0))
wordline_driver_0.add(gdstk.Label('wl_14', (13.8,151), layer=49, texttype=0))
wordline_driver_0.add(gdstk.Label('in_15', (0,163.9), layer=49, texttype=0))
wordline_driver_0.add(gdstk.Label('wl_15', (13.8,161.8), layer=49, texttype=0))
wordline_driver_0.add(gdstk.Label('vdd', (10.3,31.6), layer=62, texttype=0))
wordline_driver_0.add(gdstk.Label('vdd', (10.3,114.8), layer=62, texttype=0))
wordline_driver_0.add(gdstk.Label('vdd', (10.3,156.4), layer=62, texttype=0))
wordline_driver_0.add(gdstk.Label('vdd', (10.3,52.4), layer=62, texttype=0))
wordline_driver_0.add(gdstk.Label('vdd', (10.3,10.8), layer=62, texttype=0))
wordline_driver_0.add(gdstk.Label('vdd', (10.3,94), layer=62, texttype=0))
wordline_driver_0.add(gdstk.Label('vdd', (10.3,94), layer=62, texttype=0))
wordline_driver_0.add(gdstk.Label('vdd', (10.3,73.2), layer=62, texttype=0))
wordline_driver_0.add(gdstk.Label('vdd', (10.3,135.6), layer=62, texttype=0))
wordline_driver_0.add(gdstk.Label('vdd', (10.3,10.8), layer=62, texttype=0))
wordline_driver_0.add(gdstk.Label('vdd', (10.3,31.6), layer=62, texttype=0))
wordline_driver_0.add(gdstk.Label('vdd', (10.3,73.2), layer=62, texttype=0))
wordline_driver_0.add(gdstk.Label('gnd', (10.3,166.8), layer=62, texttype=0))
wordline_driver_0.add(gdstk.Label('gnd', (10.3,62.8), layer=62, texttype=0))
wordline_driver_0.add(gdstk.Label('gnd', (10.3,83.6), layer=62, texttype=0))
wordline_driver_0.add(gdstk.Label('gnd', (10.3,104.4), layer=62, texttype=0))
wordline_driver_0.add(gdstk.Label('gnd', (10.3,125.2), layer=62, texttype=0))
wordline_driver_0.add(gdstk.Label('gnd', (10.3,0.4), layer=62, texttype=0))
wordline_driver_0.add(gdstk.Label('gnd', (10.3,42), layer=62, texttype=0))
wordline_driver_0.add(gdstk.Label('gnd', (10.3,21.2), layer=62, texttype=0))
wordline_driver_0.add(gdstk.Label('gnd', (10.3,146), layer=62, texttype=0))

lib.write_gds('wordline_driver_0.gds')
